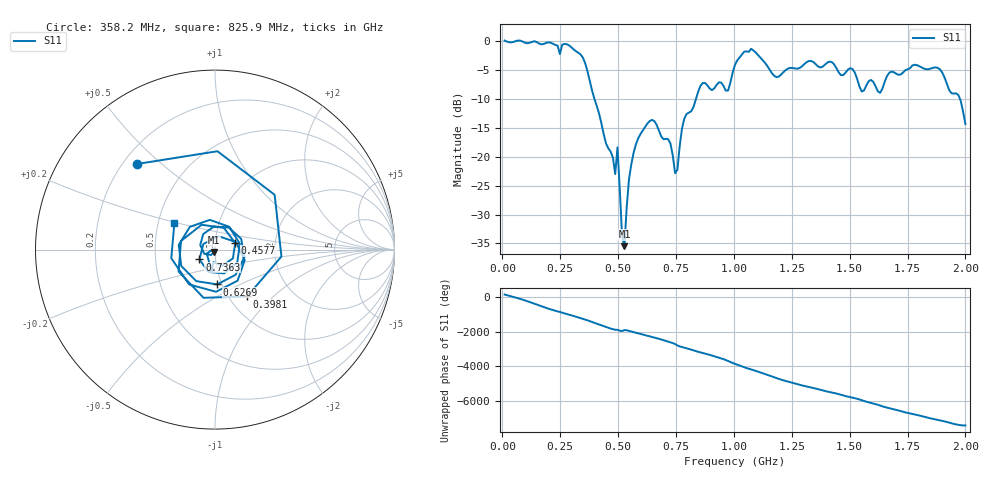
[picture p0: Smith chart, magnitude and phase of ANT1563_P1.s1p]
!Created with skrf (http://scikit-rf.org).
# Hz S RI R 50.0
!freq ReS11 ImS11
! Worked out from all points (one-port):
!   201 points, 10 MHz to 2 GHz, reference 50 ohm
!   lowest |S11| = -35.5 dB at 527.4 MHz (marker M1), VSWR 1.03, Z = 49.2 - j1.49 ohm
!   |S11| at or under -10 dB: 398.1 MHz to 836.4 MHz (438.3 MHz wide, 71 % of centre); 1.977 GHz to end of sweep
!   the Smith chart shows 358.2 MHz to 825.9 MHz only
!   S11 on the Smith chart (normalised r, x): 358.2 MHz: 0.26, +0.42; 398.1 MHz: 1.21, -0.70; 457.8 MHz: 1.25, +0.09; 626.9 MHz: 0.95, -0.38; 736.4 MHz: 0.84, -0.09; 825.9 MHz: 0.61, +0.19
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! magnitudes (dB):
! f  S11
! 10 MHz  0.1
! 258.8 MHz  -0.6
! 358.2 MHz  -3.8
! 398.1 MHz  -10.0
! 457.8 MHz  -18.5
! 487.6 MHz  -23.0
! 497.6 MHz  -18.4
! 507.5 MHz  -25.8
! 517.5 MHz  -33.8
! 527.4 MHz  -35.5
! 557.2 MHz  -21.3
! 626.9 MHz  -14.2
! 736.4 MHz  -19.8
! 756.2 MHz  -22.2
! 786.1 MHz  -13.4
! 825.9 MHz  -11.4
! 865.7 MHz  -7.2
! 975.1 MHz  -8.5
! 1.005 GHz  -4.1
! 1.075 GHz  -1.3
! 1.184 GHz  -6.2
! 1.254 GHz  -4.6
! 1.502 GHz  -4.6
! 1.632 GHz  -8.9
! 1.751 GHz  -4.8
! 1.891 GHz  -4.9
! 1.97 GHz  -9.3
! 2 GHz  -14.3
